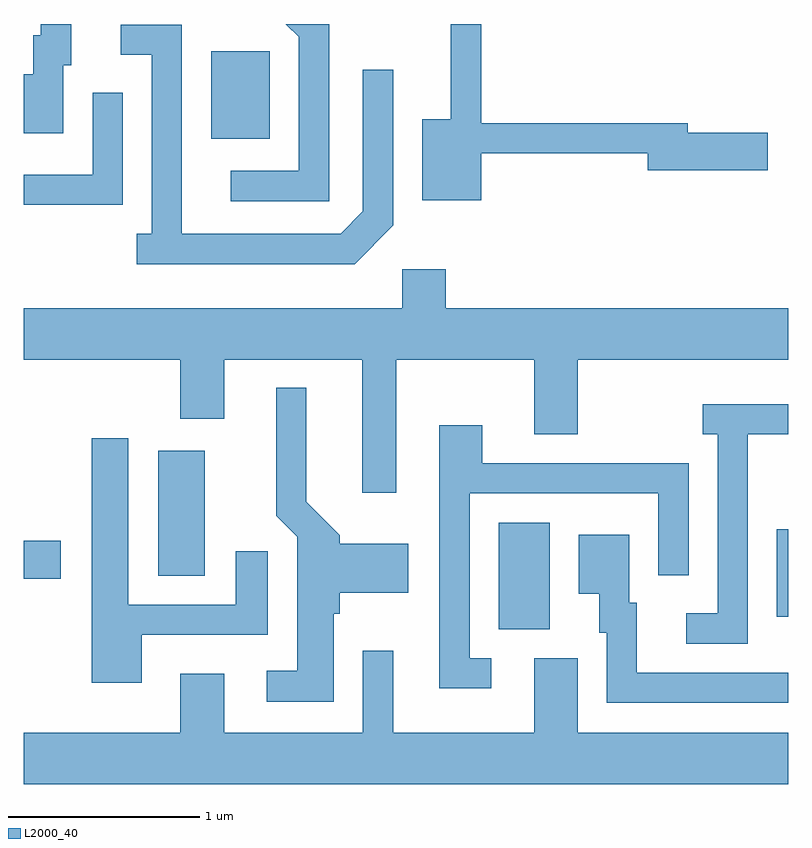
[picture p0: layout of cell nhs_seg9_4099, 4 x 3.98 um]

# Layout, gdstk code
import gdstk
lib = gdstk.Library(unit=1e-6, precision=1e-09)
def R(c, l, rs):  # rectangles x0, y0, x1, y1
    for r in rs: c.add(gdstk.rectangle(r[:2], r[2:], *l))
def P(c, l, *ps):  # polygons
    for p in ps: c.add(gdstk.Polygon(p, *l))
L2000_40 = (2000, 40)

nhs_seg9_4099 = lib.new_cell('nhs_seg9_4099')
R(nhs_seg9_4099, L2000_40, [(308.096,2019.266,308.364,2019.824), (309.551,2019.331,309.611,2019.789), (305.611,2019.531,305.804,2019.729), (306.316,2019.546,306.559,2020.199), (306.591,2021.831,306.899,2022.289)])
P(nhs_seg9_4099, L2000_40, [(305.819,2022.216),(305.859,2022.216),(305.859,2022.432),(305.701,2022.432),(305.701,2022.374),(305.661,2022.374),(305.661,2022.169),(305.611,2022.169),(305.611,2021.861),(305.819,2021.861)],
  [(307.209,2022.432),(306.983,2022.432),(307.051,2022.364),(307.051,2021.664),(306.693,2021.664),(306.693,2021.506),(307.209,2021.506)],
  [(308.004,2021.756),(308.876,2021.756),(308.876,2021.666),(309.504,2021.666),(309.504,2021.864),(309.084,2021.864),(309.084,2021.914),(308.004,2021.914),(308.004,2022.432),(307.846,2022.432),(307.846,2021.934),(307.696,2021.934),(307.696,2021.511),(308.004,2021.511)],
  [(307.544,2021.379),(307.544,2022.193),(307.386,2022.193),(307.386,2021.452),(307.269,2021.334),(306.439,2021.334),(306.439,2022.429),(306.118,2022.429),(306.118,2022.271),(306.281,2022.271),(306.281,2021.334),(306.203,2021.334),(306.203,2021.176),(307.342,2021.176)],
  [(306.129,2022.073),(305.971,2022.073),(305.971,2021.644),(305.611,2021.644),(305.611,2021.486),(306.129,2021.486)],
  [(307.559,2020.676),(308.281,2020.676),(308.281,2020.286),(308.509,2020.286),(308.509,2020.676),(309.611,2020.676),(309.611,2020.944),(307.819,2020.944),(307.819,2021.149),(307.591,2021.149),(307.591,2020.944),(305.611,2020.944),(305.611,2020.676),(306.431,2020.676),(306.431,2020.366),(306.659,2020.366),(306.659,2020.676),(307.381,2020.676),(307.381,2019.981),(307.559,2019.981)],
  [(307.234,2019.346),(307.264,2019.346),(307.264,2019.456),(307.624,2019.456),(307.624,2019.714),(307.264,2019.714),(307.264,2019.757),(307.089,2019.932),(307.089,2020.528),(306.931,2020.528),(306.931,2019.859),(307.041,2019.749),(307.041,2019.049),(306.883,2019.049),(306.883,2018.886),(307.234,2018.886)],
  [(309.399,2020.286),(309.611,2020.286),(309.611,2020.444),(309.163,2020.444),(309.163,2020.286),(309.241,2020.286),(309.241,2019.349),(309.078,2019.349),(309.078,2019.191),(309.399,2019.191)],
  [(308.058,2019.114),(307.944,2019.114),(307.944,2019.976),(308.931,2019.976),(308.931,2019.548),(309.089,2019.548),(309.089,2020.134),(308.009,2020.134),(308.009,2020.334),(307.786,2020.334),(307.786,2018.956),(308.058,2018.956)],
  [(306.229,2019.236),(306.889,2019.236),(306.889,2019.673),(306.721,2019.673),(306.721,2019.394),(306.159,2019.394),(306.159,2020.264),(305.966,2020.264),(305.966,2018.986),(306.229,2018.986)],
  [(309.611,2019.039),(308.819,2019.039),(308.819,2019.404),(308.779,2019.404),(308.779,2019.759),(308.516,2019.759),(308.516,2019.451),(308.621,2019.451),(308.621,2019.246),(308.661,2019.246),(308.661,2018.881),(309.611,2018.881)],
  [(309.611,2018.724),(308.509,2018.724),(308.509,2019.114),(308.281,2019.114),(308.281,2018.724),(307.544,2018.724),(307.544,2019.153),(307.386,2019.153),(307.386,2018.724),(306.659,2018.724),(306.659,2019.034),(306.431,2019.034),(306.431,2018.724),(305.611,2018.724),(305.611,2018.456),(309.611,2018.456)])

lib.write_gds('nhs_seg9_4099.gds')
